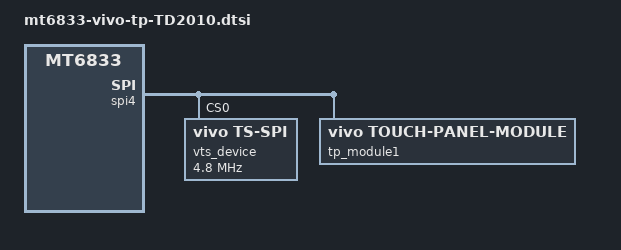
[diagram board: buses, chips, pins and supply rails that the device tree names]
&spi4 {
	status = "okay";
	vts_device@0 {
		compatible = "vivo,ts-spi";
		status = "okay";
		reg=<0>;
		spi-max-frequency = <4800000>;

		nt36672 {
			compatible = "novatek,NVT-ts-spi-v2";
			status = "ok";

			vts-type=<0>;
			vts-ic-number=<81>;
			spi-max-frequency = <9600000>;	//4800000,9600000,15000000,19200000
			novatek,reset-gpio = <&pio 186 0x00>;
			novatek,irq-gpio = <&pio 14 0x2001>;
			novatek,cs-gpio = <&pio 98 0x00>;
			novatek,miso-gpio = <&pio 12 0x00>;
			sensor-test-key="com.nttouchscreen.mptest:MainActivity:android.intent.action.novatek:0:testResult";
			lcm-noise-test-key="com.nt36xxxtouchscreen.deltadiff:MainActivity:null:null:null";
			rawdata-test-key="com.nttouchscreen.getdata:MainActivity:null:null:null";
			rf-noise-test-key="com.nt36xxxtouchscreen.deltadiff:BspTest:android.intent.action.nvtdeltadiff:0:testResult";

			//vts-incell-panel = <&dsi_nt36675_tm_fhdplus_video &dsi_ft8756_truly_fhdplus_video &dsi_nt36672c_tm657_dsc_fhdplus_video>;

		};
	};

	tp_module1 {
		compatible = "vivo,touch-panel-module";
		vts-ic-number=<81>;
		vts-type=<0>;
		vts-lcmid=<16>;
		vts-dimention-x=<1080>;
		vts-dimention-y=<2408>;
		vts-tx-sensors=<16>;
		vts-rx-sensors=<36>;
		vts-incell=<1>;
		vts-need-caliberation=<0>;
		vts-virtual-proximinity=<0>;
		vts-long-press=<0>;
		vts-module-vendor=<0xF0>;
		vts-no-flash=<1>;
		vts-game-mode=<1>;
		vts-game-idle-time=<10>;
	};
};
